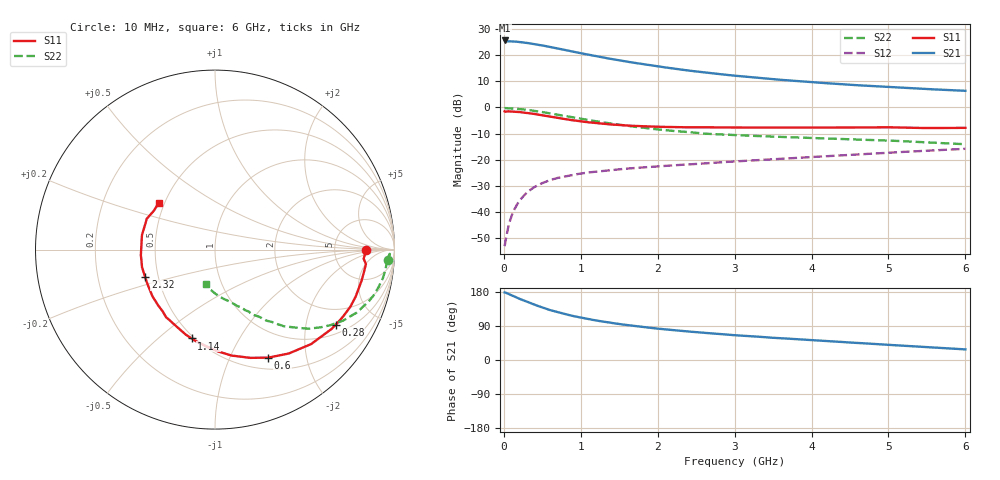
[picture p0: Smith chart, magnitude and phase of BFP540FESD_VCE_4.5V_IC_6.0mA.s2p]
! Infineon Technologies  Discrete & RF Semiconductors
! BFP540FESD
! VCE =  4.5 V,  IC =  6.0 mA
! Common Emitter S-Parameters:  Nov 2015
# GHz  S  MA  R  50
!  f  S11  S21  S12  S22
! GHz  MAG  ANG  MAG  ANG  MAG  ANG  MAG  ANG
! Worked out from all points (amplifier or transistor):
!   210 points, 10 MHz to 6 GHz, reference 50 ohm
!   highest |S21| = 25.7 dB at 10 MHz (marker M1)
!   |S21| within 3 dB of that: start of sweep to 686.8 MHz
!   unconditionally stable (mu >= 1): 2.592 GHz to end of sweep
!   at 185 MHz: K = 0.23, MSG = 30.8 dB, |S12| = -36.5 dB
!   at 1.52 GHz: K = 0.69, MSG = 20.8 dB, |S12| = -23.6 dB
!   at 6 GHz: K = 1.29, MAG = 7.9 dB, |S12| = -15.8 dB
!   S11 on the Smith chart (normalised r, x): 10 MHz: 12, -0; 280 MHz: 1.32, -2.96; 600 MHz: 0.64, -1.40; 1.14 GHz: 0.48, -0.65; 2.32 GHz: 0.42, -0.16; 6 GHz: 0.47, +0.29
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0.01  0.843 -0.3  19.23 178.2  0.0022 25.0  0.9654 -3.4
0.02  0.8296 -3.5  18.5 177.9  0.0027 38.2  0.9738 -1.4
0.05  0.8448 -5.5  18.59 175.3  0.0045 58.6  0.962 -3.2
0.15  0.8275 -18.0  18.33 166.5  0.0121 71.5  0.9489 -9.6
0.2  0.8185 -22.9  17.95 161.8  0.0161 72.1  0.9354 -12.8
0.28  0.7918 -31.9  17.41 155.2  0.0219 69.7  0.9102 -17.6
0.4  0.751 -44.5  16.39 145.7  0.03 65.5  0.8629 -24.1
0.5  0.7101 -54.6  15.49 138.4  0.0355 62.0  0.8159 -29.0
0.6  0.6705 -63.9  14.42 131.8  0.0405 58.3  0.7698 -33.1
0.8  0.5979 -81.0  12.59 120.8  0.0479 53.4  0.6825 -40.2
0.9  0.5677 -88.3  11.73 116.0  0.0513 51.7  0.6428 -42.8
1.02  0.5367 -96.3  10.81 111.0  0.0547 49.9  0.6011 -45.8
1.14  0.5117 -104.8  9.983 106.4  0.0576 48.3  0.5624 -48.7
1.3  0.4856 -114.0  9 101.1  0.061 46.7  0.5173 -51.4
1.5  0.4649 -125.9  7.99 94.8  0.0654 45.4  0.4679 -55.4
1.78  0.4389 -138.9  6.847 87.6  0.0702 44.1  0.4148 -60.2
2.02  0.4263 -149.0  6.079 82.4  0.0745 43.2  0.377 -63.5
2.32  0.4178 -158.5  5.286 76.7  0.0798 42.8  0.3447 -67.2
3.1  0.4128 -177.5  3.944 64.2  0.0942 41.9  0.2912 -76.6
4.1  0.414 167.3  2.982 51.2  0.1144 40.5  0.2575 -85.8
5.1  0.414 154.1  2.425 38.8  0.1384 36.9  0.229 -95.0
6  0.4071 140.5  2.085 28.0  0.1615 32.4  0.1975 -105.5
